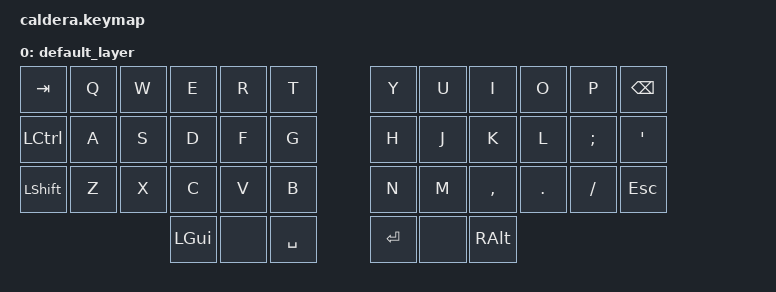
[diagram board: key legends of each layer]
/*
 * Simplified Single-Layer Windows QWERTY Keymap
 *
 * SPDX-License-Identifier: MIT
 */

#include <behaviors.dtsi>
#include <dt-bindings/zmk/keys.h>

 / {
        keymap {
                compatible = "zmk,keymap";

                default_layer {
                        bindings = <
   &kp TAB   &kp Q &kp W &kp E &kp R &kp T   &kp Y &kp U  &kp I     &kp O   &kp P    &kp BSPC
   &kp LCTRL &kp A &kp S &kp D &kp F &kp G   &kp H &kp J  &kp K     &kp L   &kp SEMI &kp SQT
   &kp LSHFT &kp Z &kp X &kp C &kp V &kp B   &kp N &kp M  &kp COMMA &kp DOT &kp FSLH &kp ESC
                  &kp LGUI &none &kp SPACE   &kp RET &none &kp RALT
                        >;
                };
        };
};
